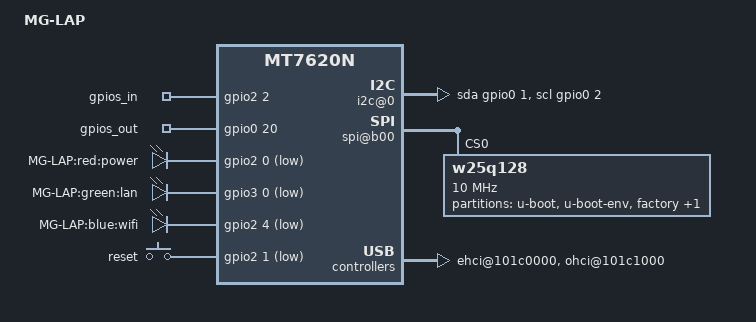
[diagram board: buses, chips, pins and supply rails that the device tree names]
/dts-v1/;

/include/ "mt7620n.dtsi"

/ {
      compatible = "mg-lap", "ralink,mt7620n-soc";
      model = "MG-LAP";
      
      palmbus@10000000 {
          gpio0: gpio@600 {
              status = "okay";
          };
          
          gpio1: gpio@638 {
              status = "okay";
          };
          
          gpio2: gpio@660 {
              status = "okay";
          };
          
          gpio3: gpio@688 {
              status = "okay";
          };

	i2c@0 {
		compatible = "i2c-gpio";
		gpios =<&gpio0 1 0
			&gpio0 2 0>;
		i2c-gpio,delay-us = <20>;
		#address-cells = <1>;
		#size-cells = <0>;
	}; 

	  
          
          spi@b00 {
              status = "okay";
              
              w25q128@0 {
                  #address-cells = <1>;
                  #size-cells = <1>;
                  compatible = "w25q128";
                  reg = <0 0>;
                  linux,modalias = "m25p80";
                  spi-max-frequency = <10000000>;
                  
                  partition@0 {
                      label = "u-boot";
                      reg = <0x0 0x30000>;
                      read-only;
                  };
                  
                  partition@30000 {
                      label = "u-boot-env";
                      reg = <0x30000 0x10000>;
                      read-only;
                  };
                  
                  factory: partition@40000 {
                      label = "factory";
                      reg = <0x40000 0x10000>;
                      read-only;
                  };
                  
                  partition@50000 {
                      label = "firmware";
                      reg = <0x50000 0xFB0000>;
                  };
              };

          };
      };


      
      ehci@101c0000 {
          status = "okay";
      };
      
      ohci@101c1000 {
          status = "okay";
      };
      
      ethernet@10100000 {
          mtd-mac-address = <&factory 0x4>;
          ralink,port-map = "wllll";
      };
      
      wmac@10180000 {
          ralink,mtd-eeprom = <&factory 0>;
      };
      
      pinctrl {

	state_default: pinctrl0 {
              default {
                  ralink,group = "ephy","pa","wled","i2c","mdio","spi refclk";
                  ralink,function = "gpio";
             }; 
		spi_cs1: spi1 {
			spi1 {
				ralink,group = "spi";
				ralink,function = "spi refclk";
			};
		};


     	};

      };


	gpio_export { 
		compatible = "gpio-export";
		#size-cells = <0>;
		gpios_in { 
		    gpios = <
			     &gpio2 2 0 	
		             &gpio2 3 0>;
		     gpio-export,direction_may_change;
		 };
		gpios_out { 
		    gpios = <
			     &gpio0 20 0 	
		             &gpio0 21 0 
		             &gpio1 13 0>;                      
		    gpio-export,direction_may_change;
		}; 

        };     
        gpio-leds {
          compatible = "gpio-leds";
          
          power {
              label = "MG-LAP:red:power";
              gpios = <&gpio2 0 1>;
          };
          
          lan {
              label = "MG-LAP:green:lan";
              gpios = <&gpio3 0 1>;
          };
          
          wifi{
              label = "MG-LAP:blue:wifi";
              gpios = <&gpio2 4 1>;
          };

       };

      
        gpio-keys-polled {
		compatible = "gpio-keys-polled";
		#address-cells = <1>;
		#size-cells = <0>;
		poll-interval = <20>;
		reset {
			label = "reset";
			gpios = <&gpio2 1 1>;
			linux,code = <0x198>;
		};
	};

 	
  };
